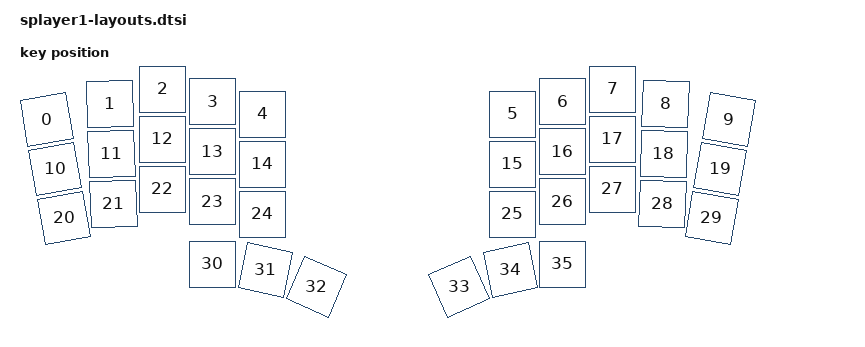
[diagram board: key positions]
#include <physical_layouts.dtsi>

/ {
	physical_layout0: physical_layout_0 {
		compatible = "zmk,physical-layout";
		display-name = "default_transform";

		kscan = <&kscan0>;
		transform = <&matrix_transform0>;

		keys  //                     w   h    x    y     rot    rx    ry
		= <&key_physical_attrs 100 100    0   12 (-1000)   328   100>
		, <&key_physical_attrs 100 100  125   25  (-200)   328   100>
		, <&key_physical_attrs 100 100  230    0       0     0     0>
		, <&key_physical_attrs 100 100  330   25       0     0     0>
		, <&key_physical_attrs 100 100  430   50       0     0     0>
		, <&key_physical_attrs 100 100  930   50       0     0     0>
		, <&key_physical_attrs 100 100 1030   25       0     0     0>
		, <&key_physical_attrs 100 100 1130    0       0     0     0>
		, <&key_physical_attrs 100 100 1235   25     200  1132   100>
		, <&key_physical_attrs 100 100 1360   12    1000  1132   100>
		, <&key_physical_attrs 100 100    0  112 (-1000)   328   100>
		, <&key_physical_attrs 100 100  125  125  (-200)   328   100>
		, <&key_physical_attrs 100 100  230  100       0     0     0>
		, <&key_physical_attrs 100 100  330  125       0     0     0>
		, <&key_physical_attrs 100 100  430  150       0     0     0>
		, <&key_physical_attrs 100 100  930  150       0     0     0>
		, <&key_physical_attrs 100 100 1030  125       0     0     0>
		, <&key_physical_attrs 100 100 1130  100       0     0     0>
		, <&key_physical_attrs 100 100 1235  125     200  1132   100>
		, <&key_physical_attrs 100 100 1360  112    1000  1132   100>
		, <&key_physical_attrs 100 100    0  212 (-1000)   328   100>
		, <&key_physical_attrs 100 100  125  225  (-200)   328   100>
		, <&key_physical_attrs 100 100  230  200       0     0     0>
		, <&key_physical_attrs 100 100  330  225       0     0     0>
		, <&key_physical_attrs 100 100  430  250       0     0     0>
		, <&key_physical_attrs 100 100  930  250       0     0     0>
		, <&key_physical_attrs 100 100 1030  225       0     0     0>
		, <&key_physical_attrs 100 100 1130  200       0     0     0>
		, <&key_physical_attrs 100 100 1235  225     200  1132   100>
		, <&key_physical_attrs 100 100 1360  212    1000  1132   100>
		, <&key_physical_attrs 100 100  330  350       0     0     0>
		, <&key_physical_attrs 100 100  330  340    1200   330   900>
		, <&key_physical_attrs 100 100  330  330    2400   330   900>
		, <&key_physical_attrs 100 100 1030  330 (-2400)  1130   900>
		, <&key_physical_attrs 100 100 1030  340 (-1200)  1130   900>
		, <&key_physical_attrs 100 100 1030  350       0     0     0>
		;
	};
};
